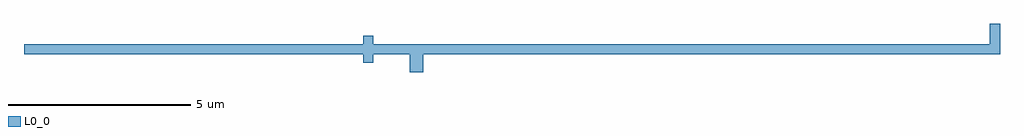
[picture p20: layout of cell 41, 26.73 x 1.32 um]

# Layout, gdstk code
import gdstk
lib = gdstk.Library(unit=1e-6, precision=1e-09)
def P(c, l, *ps):  # polygons
    for p in ps: c.add(gdstk.Polygon(p, *l))
L0_0 = (0, 0)

c_41 = lib.new_cell('41')
P(c_41, L0_0, [(953.84,994.42),(954.22,994.42),(954.22,994.14),(953.84,994.14),(953.84,994.42)],
  [(955.16,994.42),(955.54,994.42),(955.54,993.655),(955.16,993.655),(955.16,994.42)],
  [(953.915,994.395),(955.35,994.395),(955.35,994.165),(953.915,994.165),(953.915,994.395)],
  [(953.84,994.42),(954.22,994.42),(954.22,994.14),(953.84,994.14),(953.84,994.42)],
  [(953.89,994.65),(954.17,994.65),(954.17,993.91),(953.89,993.91),(953.89,994.65)],
  [(946.63,994.42),(949.55,994.42),(949.55,994.14),(946.63,994.14),(946.63,994.42)],
  [(944.65,994.42),(946.91,994.42),(946.91,994.14),(944.65,994.14),(944.65,994.42)],
  [(949.27,994.42),(954.17,994.42),(954.17,994.14),(949.27,994.14),(949.27,994.42)],
  [(971.05,994.14),(971.05,994.98),(971.33,994.98),(971.33,994.14),(971.05,994.14)],
  [(953.89,994.42),(971.33,994.42),(971.33,994.14),(953.89,994.14),(953.89,994.42)],
  [(949.22,994.42),(949.6,994.42),(949.6,994.14),(949.22,994.14),(949.22,994.42)],
  [(944.6,994.42),(944.98,994.42),(944.98,994.14),(944.6,994.14),(944.6,994.42)],
  [(946.58,994.42),(946.96,994.42),(946.96,994.14),(946.58,994.14),(946.58,994.42)],
  [(953.84,994.42),(954.22,994.42),(954.22,994.14),(953.84,994.14),(953.84,994.42)],
  [(971.05,994.14),(971.05,994.98),(971.33,994.98),(971.33,994.14),(971.05,994.14)],
  [(953.89,994.42),(971.33,994.42),(971.33,994.14),(953.89,994.14),(953.89,994.42)],
  [(953.84,994.42),(954.22,994.42),(954.22,994.14),(953.84,994.14),(953.84,994.42)],
  [(953.89,994.42),(971.33,994.42),(971.33,994.14),(953.89,994.14),(953.89,994.42)])

lib.write_gds('41.gds')
